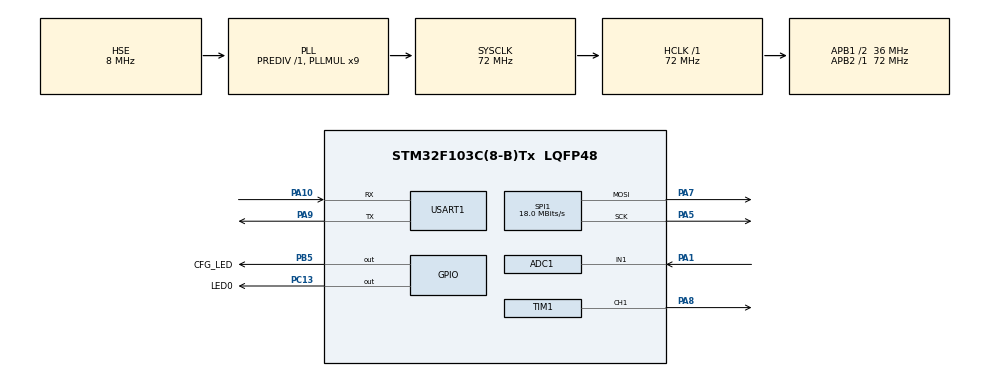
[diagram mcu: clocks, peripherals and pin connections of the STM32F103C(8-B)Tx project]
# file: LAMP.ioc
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ADC1.Channel-0\#ChannelRegularConversion=ADC_CHANNEL_1
ADC1.NbrOfConversionFlag=1
ADC1.Rank-0\#ChannelRegularConversion=1
ADC1.SamplingTime-0\#ChannelRegularConversion=ADC_SAMPLETIME_1CYCLE_5
ADC1.master=1
Dma.Request0=TIM1_CH1
Dma.TIM1_CH1.0.Direction=DMA_MEMORY_TO_PERIPH
Dma.TIM1_CH1.0.Instance=DMA1_Channel2
Dma.TIM1_CH1.0.MemDataAlignment=DMA_MDATAALIGN_HALFWORD
Dma.TIM1_CH1.0.MemInc=DMA_MINC_ENABLE
Dma.TIM1_CH1.0.Mode=DMA_CIRCULAR
Dma.TIM1_CH1.0.PeriphDataAlignment=DMA_PDATAALIGN_HALFWORD
Dma.TIM1_CH1.0.PeriphInc=DMA_PINC_DISABLE
Dma.TIM1_CH1.0.Priority=DMA_PRIORITY_LOW
FREERTOS.Tasks01=defaultTask,0,128,StartDefaultTask,Default,NULL,Dynamic,NULL,NULL;ledTask,-1,256,ledTask_,Default,NULL,Dynamic,NULL,NULL
Mcu.Family=STM32F1
Mcu.Name=STM32F103C(8-B)Tx
Mcu.Package=LQFP48
NVIC.DMA1_Channel2_IRQn=true\:5\:0\:false\:false\:true\:true\:false\:true\:true
NVIC.PriorityGroup=NVIC_PRIORITYGROUP_4
NVIC.TIM2_IRQn=true\:15\:0\:false\:false\:true\:false\:false\:true\:true
NVIC.TimeBase=TIM2_IRQn
NVIC.TimeBaseIP=TIM2
PA0-WKUP.Mode=SYS_WakeUp0
PA0-WKUP.Signal=SYS_WKUP
PA1.Signal=ADCx_IN1
PA10.Mode=Asynchronous
PA10.Signal=USART1_RX
PA13.Mode=Serial_Wire
PA13.Signal=SYS_JTMS-SWDIO
PA14.Mode=Serial_Wire
PA14.Signal=SYS_JTCK-SWCLK
PA5.Mode=TX_Only_Simplex_Unidirect_Master
PA5.Signal=SPI1_SCK
PA7.Mode=TX_Only_Simplex_Unidirect_Master
PA7.Signal=SPI1_MOSI
PA8.Signal=S_TIM1_CH1
PA9.Mode=Asynchronous
PA9.Signal=USART1_TX
PB5.GPIO_Label=CFG_LED
PB5.GPIO_ModeDefaultOutputPP=GPIO_MODE_OUTPUT_PP
PB5.GPIO_PuPd=GPIO_NOPULL
PB5.PinState=GPIO_PIN_SET
PB5.Signal=GPIO_Output
PC13-TAMPER-RTC.GPIO_Label=LED0
PC13-TAMPER-RTC.Signal=GPIO_Output
PD0-OSC_IN.Mode=HSE-External-Oscillator
PD0-OSC_IN.Signal=RCC_OSC_IN
PD1-OSC_OUT.Mode=HSE-External-Oscillator
PD1-OSC_OUT.Signal=RCC_OSC_OUT
ProjectManager.HeapSize=0x200
ProjectManager.StackSize=0x400
ProjectManager.TargetToolchain=MDK-ARM V5.32
RCC.ADCPresc=RCC_ADCPCLK2_DIV6
RCC.AHBFreq_Value=72000000
RCC.APB1CLKDivider=RCC_HCLK_DIV2
RCC.APB1Freq_Value=36000000
RCC.APB1TimFreq_Value=72000000
RCC.APB2Freq_Value=72000000
RCC.APB2TimFreq_Value=72000000
RCC.HCLKFreq_Value=72000000
RCC.PLLMUL=RCC_PLL_MUL9
RCC.PLLSourceVirtual=RCC_PLLSOURCE_HSE
RCC.SYSCLKFreq_VALUE=72000000
RCC.SYSCLKSource=RCC_SYSCLKSOURCE_PLLCLK
RCC.USBFreq_Value=72000000
SH.ADCx_IN1.0=ADC1_IN1,IN1
SH.S_TIM1_CH1.0=TIM1_CH1,PWM Generation1 CH1
SPI1.BaudRatePrescaler=SPI_BAUDRATEPRESCALER_4
SPI1.CalculateBaudRate=18.0 MBits/s
SPI1.Direction=SPI_DIRECTION_2LINES
SPI1.Mode=SPI_MODE_MASTER
SPI1.VirtualType=VM_MASTER
TIM1.Channel-PWM\ Generation1\ CH1=TIM_CHANNEL_1
TIM1.Period=89
USART1.VirtualMode=VM_ASYNC
VP_FREERTOS_VS_CMSIS_V1.Mode=CMSIS_V1
VP_SYS_VS_tim2.Mode=TIM2
board=custom

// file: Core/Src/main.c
/* USER CODE BEGIN Header */
/**
  ******************************************************************************
  * @file           : main.c
  * @brief          : Main program body
  ******************************************************************************
  * @attention
  *
  * Copyright (c) 2024 STMicroelectronics.
  * All rights reserved.
  *
  * This software is licensed under terms that can be found in the LICENSE file
  * in the root directory of this software component.
  * If no LICENSE file comes with this software, it is provided AS-IS.
  *
  ******************************************************************************
  */
/* USER CODE END Header */
#include "main.h"
#include "cmsis_os.h"
#include "adc.h"
#include "dma.h"
#include "spi.h"
#include "tim.h"
#include "usart.h"
#include "gpio.h"

/* USER CODE BEGIN Includes */
#include "RGB.h"
#include "ws2812b.h"
#include "app_main.h"
#include "device_usart.h"
/* USER CODE END Includes */

void SystemClock_Config(void);
void MX_FREERTOS_Init(void);

int main(void)
{

  /* MCU Configuration--------------------------------------------------------*/

  /* Reset of all peripherals, Initializes the Flash interface and the Systick. */
  HAL_Init();

  /* Configure the system clock */
  SystemClock_Config();

  /* Initialize all configured peripherals */
  MX_GPIO_Init();
  MX_DMA_Init();
  MX_TIM1_Init();
  MX_ADC1_Init();
  MX_SPI1_Init();
  MX_USART1_UART_Init();
  /* USER CODE BEGIN 2 */
//	task_main();
  /* USER CODE END 2 */

  /* Call init function for freertos objects (in freertos.c) */
  MX_FREERTOS_Init();

  /* Start scheduler */
  osKernelStart();
  /* We should never get here as control is now taken by the scheduler */
  /* Infinite loop */
  while (1)
  {

    /* USER CODE BEGIN 3 */
		for(int i=0;i<17;i++)
		{
			WS2812b_Set(i,0,20,0);
		}
		HAL_Delay(600);
		for(int i=0;i<17;i++)
		{
			WS2812b_Set(i,20,0,0);
		}
		HAL_Delay(600);
		for(int i=0;i<17;i++)
		{
			WS2812b_Set(i,0,0,20);
		}
		HAL_Delay(600);
		}
  /* USER CODE END 3 */
}

void SystemClock_Config(void)
{
  RCC_OscInitTypeDef RCC_OscInitStruct = {0};
  RCC_ClkInitTypeDef RCC_ClkInitStruct = {0};
  RCC_PeriphCLKInitTypeDef PeriphClkInit = {0};

  /** Initializes the RCC Oscillators according to the specified parameters
  * in the RCC_OscInitTypeDef structure.
  */
  RCC_OscInitStruct.OscillatorType = RCC_OSCILLATORTYPE_HSE;
  RCC_OscInitStruct.HSEState = RCC_HSE_ON;
  RCC_OscInitStruct.HSEPredivValue = RCC_HSE_PREDIV_DIV1;
  RCC_OscInitStruct.HSIState = RCC_HSI_ON;
  RCC_OscInitStruct.PLL.PLLState = RCC_PLL_ON;
  RCC_OscInitStruct.PLL.PLLSource = RCC_PLLSOURCE_HSE;
  RCC_OscInitStruct.PLL.PLLMUL = RCC_PLL_MUL9;
  if (HAL_RCC_OscConfig(&RCC_OscInitStruct) != HAL_OK)
  {
    Error_Handler();
  }

  /** Initializes the CPU, AHB and APB buses clocks
  */
  RCC_ClkInitStruct.ClockType = RCC_CLOCKTYPE_HCLK|RCC_CLOCKTYPE_SYSCLK
                              |RCC_CLOCKTYPE_PCLK1|RCC_CLOCKTYPE_PCLK2;
  RCC_ClkInitStruct.SYSCLKSource = RCC_SYSCLKSOURCE_PLLCLK;
  RCC_ClkInitStruct.AHBCLKDivider = RCC_SYSCLK_DIV1;
  RCC_ClkInitStruct.APB1CLKDivider = RCC_HCLK_DIV2;
  RCC_ClkInitStruct.APB2CLKDivider = RCC_HCLK_DIV1;

  if (HAL_RCC_ClockConfig(&RCC_ClkInitStruct, FLASH_LATENCY_2) != HAL_OK)
  {
    Error_Handler();
  }
  PeriphClkInit.PeriphClockSelection = RCC_PERIPHCLK_ADC;
  PeriphClkInit.AdcClockSelection = RCC_ADCPCLK2_DIV6;
  if (HAL_RCCEx_PeriphCLKConfig(&PeriphClkInit) != HAL_OK)
  {
    Error_Handler();
  }
}

void HAL_TIM_PeriodElapsedCallback(TIM_HandleTypeDef *htim)
{
  if (htim->Instance == TIM2) {
    HAL_IncTick();
  }
}

void Error_Handler(void)
{
  __disable_irq();
  while (1)
  {
  }
}

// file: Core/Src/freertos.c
/* USER CODE BEGIN Header */
/**
  ******************************************************************************
  * File Name          : freertos.c
  * Description        : Code for freertos applications
  ******************************************************************************
  * @attention
  *
  * Copyright (c) 2024 STMicroelectronics.
  * All rights reserved.
  *
  * This software is licensed under terms that can be found in the LICENSE file
  * in the root directory of this software component.
  * If no LICENSE file comes with this software, it is provided AS-IS.
  *
  ******************************************************************************
  */
/* USER CODE END Header */

#include "FreeRTOS.h"
#include "task.h"
#include "main.h"
#include "cmsis_os.h"

/* USER CODE BEGIN Includes */
#include "app_main.h"
/* USER CODE END Includes */

osThreadId defaultTaskHandle;
osThreadId ledTaskHandle;

void StartDefaultTask(void const * argument);
void ledTask_(void const * argument);

void MX_FREERTOS_Init(void); /* (MISRA C 2004 rule 8.1) */

/* GetIdleTaskMemory prototype (linked to static allocation support) */
void vApplicationGetIdleTaskMemory( StaticTask_t **ppxIdleTaskTCBBuffer, StackType_t **ppxIdleTaskStackBuffer, uint32_t *pulIdleTaskStackSize );

/* USER CODE BEGIN GET_IDLE_TASK_MEMORY */
static StaticTask_t xIdleTaskTCBBuffer;
static StackType_t xIdleStack[configMINIMAL_STACK_SIZE];

void vApplicationGetIdleTaskMemory( StaticTask_t **ppxIdleTaskTCBBuffer, StackType_t **ppxIdleTaskStackBuffer, uint32_t *pulIdleTaskStackSize )
{
  *ppxIdleTaskTCBBuffer = &xIdleTaskTCBBuffer;
  *ppxIdleTaskStackBuffer = &xIdleStack[0];
  *pulIdleTaskStackSize = configMINIMAL_STACK_SIZE;
  /* place for user code */
}
/* USER CODE END GET_IDLE_TASK_MEMORY */

void MX_FREERTOS_Init(void) {

  /* Create the thread(s) */
  /* definition and creation of defaultTask */
  osThreadDef(defaultTask, StartDefaultTask, osPriorityNormal, 0, 128);
  defaultTaskHandle = osThreadCreate(osThread(defaultTask), NULL);

  /* definition and creation of ledTask */
  osThreadDef(ledTask, ledTask_, osPriorityBelowNormal, 0, 256);
  ledTaskHandle = osThreadCreate(osThread(ledTask), NULL);

}

void StartDefaultTask(void const * argument)
{
  /* USER CODE BEGIN StartDefaultTask */
  /* Infinite loop */
  task_main();
  for(;;)
  {
    osDelay(1);
  }
  /* USER CODE END StartDefaultTask */
}

void ledTask_(void const * argument)
{
  /* USER CODE BEGIN ledTask_ */
  /* Infinite loop */
  led_task();
  for(;;)
  {
    osDelay(1);
  }
  /* USER CODE END ledTask_ */
}
